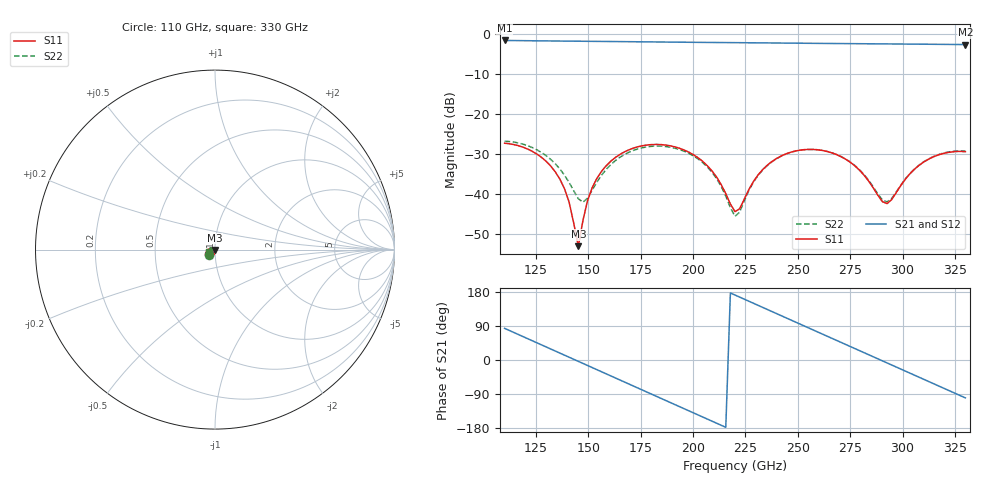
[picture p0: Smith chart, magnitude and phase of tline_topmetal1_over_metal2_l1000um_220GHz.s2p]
#  GHZ S DB R 50
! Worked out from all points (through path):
!   101 points, 110 GHz to 330 GHz, reference 50 ohm
!   highest |S21| = -1.57 dB at 110 GHz (marker M1); lowest = -2.6 dB at 330 GHz (marker M2)
!   group delay of S21, straight-line fit = 6.86 ps
!   lowest |S11| = -53.0 dB at 145.2 GHz (marker M3), VSWR 1.00, Z = 49.8 - j0.142 ohm
!   |S11| at or under -10 dB: start of sweep to end of sweep
!   |S22| runs from -45.5 to -26.7 dB; largest |S21 - S12| = 9.5e-14
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110  -27.26 -143.4  -1.57 83.5  -1.57 83.5  -26.74 -140.8
123.2  -29.28 -176.4  -1.64 50.9  -1.64 50.9  -28.34 -171.1
134.2  -34.41 158.6  -1.70 23.6  -1.70 23.6  -32.40 169.2
140.8  -41.99 151.4  -1.73 7.3  -1.73 7.3  -37.07 168.1
145.2  -52.99 -140.5  -1.75 -3.6  -1.75 -3.6  -41.13 -172.4
147.4  -46.56 -89.8  -1.77 -9.0  -1.77 -9.0  -42.00 -151.3
151.8  -38.40 -83.2  -1.79 -19.9  -1.79 -19.9  -39.02 -118.4
160.6  -31.80 -99.3  -1.83 -41.7  -1.83 -41.7  -32.65 -114.4
173.8  -28.12 -129.7  -1.90 -74.4  -1.90 -74.4  -28.65 -137.9
184.8  -27.60 -155.3  -1.95 -101.6  -1.95 -101.6  -27.99 -161.5
195.8  -28.97 -179.8  -2.01 -128.8  -2.01 -128.8  -29.28 175.1
206.8  -32.88 159.7  -2.06 -155.9  -2.06 -155.9  -33.20 154.8
213.4  -37.59 155.7  -2.09 -172.2  -2.09 -172.2  -38.05 150.4
220  -44.35 -165.7  -2.11 171.5  -2.11 171.5  -45.53 -167.7
235.4  -32.76 -117.9  -2.18 133.4  -2.18 133.4  -32.84 -118.4
246.4  -29.54 -138.0  -2.23 106.2  -2.23 106.2  -29.58 -138.7
257.4  -28.81 -160.6  -2.28 79.1  -2.28 79.1  -28.82 -161.2
277.2  -32.91 163.8  -2.37 30.3  -2.37 30.3  -32.82 163.7
290.4  -41.87 -174.9  -2.42 -2.3  -2.42 -2.3  -41.43 -175.6
294.8  -41.34 -137.8  -2.44 -13.2  -2.44 -13.2  -41.06 -140.2
310.2  -31.92 -126.5  -2.50 -51.2  -2.50 -51.2  -31.86 -127.4
330  -29.37 -161.5  -2.59 -100.0  -2.59 -100.0  -29.19 -161.2
